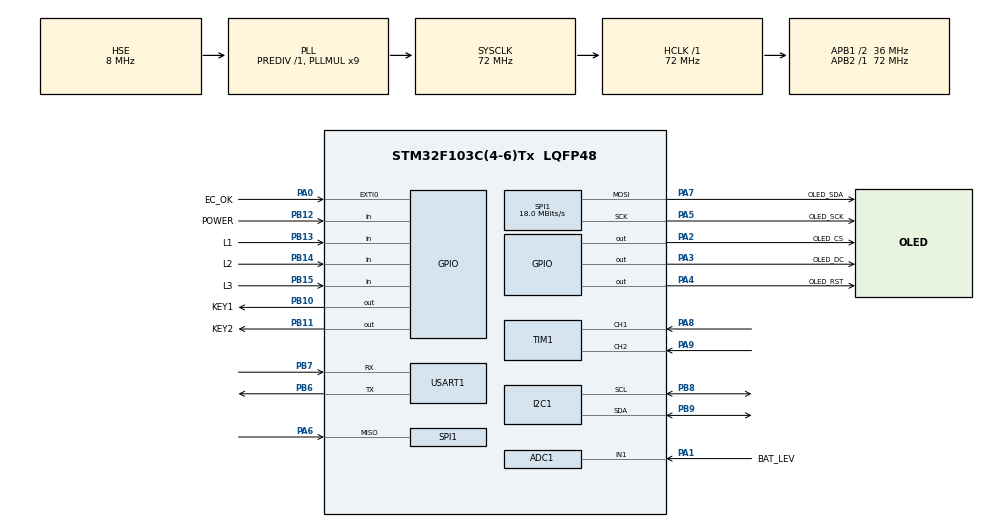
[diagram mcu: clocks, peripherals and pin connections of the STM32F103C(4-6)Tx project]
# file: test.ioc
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ADC1.Channel-1\#ChannelRegularConversion=ADC_CHANNEL_1
ADC1.NbrOfConversionFlag=1
ADC1.Rank-1\#ChannelRegularConversion=1
ADC1.SamplingTime-1\#ChannelRegularConversion=ADC_SAMPLETIME_1CYCLE_5
ADC1.master=1
Dma.Request0=SPI1_TX
Dma.SPI1_TX.0.Direction=DMA_MEMORY_TO_PERIPH
Dma.SPI1_TX.0.Instance=DMA1_Channel3
Dma.SPI1_TX.0.MemDataAlignment=DMA_MDATAALIGN_BYTE
Dma.SPI1_TX.0.MemInc=DMA_MINC_ENABLE
Dma.SPI1_TX.0.Mode=DMA_NORMAL
Dma.SPI1_TX.0.PeriphDataAlignment=DMA_PDATAALIGN_BYTE
Dma.SPI1_TX.0.PeriphInc=DMA_PINC_DISABLE
Dma.SPI1_TX.0.Priority=DMA_PRIORITY_LOW
Mcu.Family=STM32F1
Mcu.Name=STM32F103C(4-6)Tx
Mcu.Package=LQFP48
NVIC.ADC1_2_IRQn=true\:4\:0\:true\:false\:true\:true\:true\:true
NVIC.DMA1_Channel3_IRQn=true\:0\:0\:false\:false\:true\:false\:true\:true
NVIC.EXTI0_IRQn=true\:5\:0\:true\:false\:true\:true\:true\:true
NVIC.PriorityGroup=NVIC_PRIORITYGROUP_4
NVIC.TIM2_IRQn=true\:3\:0\:true\:false\:true\:true\:true\:true
PA0-WKUP.GPIO_Label=EC_OK
PA0-WKUP.GPIO_PuPd=GPIO_PULLDOWN
PA0-WKUP.Signal=GPXTI0
PA1.GPIO_Label=BAT_LEV
PA1.Signal=ADCx_IN1
PA13.Mode=Serial_Wire
PA13.Signal=SYS_JTMS-SWDIO
PA14.Mode=Serial_Wire
PA14.Signal=SYS_JTCK-SWCLK
PA2.GPIO_Label=OLED_CS
PA2.GPIO_PuPd=GPIO_NOPULL
PA2.GPIO_Speed=GPIO_SPEED_FREQ_LOW
PA2.PinState=GPIO_PIN_RESET
PA2.Signal=GPIO_Output
PA3.GPIO_Label=OLED_DC
PA3.GPIO_PuPd=GPIO_NOPULL
PA3.GPIO_Speed=GPIO_SPEED_FREQ_LOW
PA3.PinState=GPIO_PIN_RESET
PA3.Signal=GPIO_Output
PA4.GPIO_Label=OLED_RST
PA4.GPIO_PuPd=GPIO_NOPULL
PA4.GPIO_Speed=GPIO_SPEED_FREQ_LOW
PA4.PinState=GPIO_PIN_RESET
PA4.Signal=GPIO_Output
PA5.GPIO_Label=OLED_SCK
PA5.Mode=Full_Duplex_Master
PA5.Signal=SPI1_SCK
PA6.Mode=Full_Duplex_Master
PA6.Signal=SPI1_MISO
PA7.GPIO_Label=OLED_SDA
PA7.Mode=Full_Duplex_Master
PA7.Signal=SPI1_MOSI
PA8.GPIO_PuPd=GPIO_PULLUP
PA8.Signal=S_TIM1_CH1
PA9.GPIO_PuPd=GPIO_PULLUP
PA9.Signal=S_TIM1_CH2
PB10.GPIO_Label=KEY1
PB10.GPIO_PuPd=GPIO_PULLUP
PB10.Signal=GPIO_Output
PB11.GPIO_Label=KEY2
PB11.GPIO_PuPd=GPIO_PULLUP
PB11.Signal=GPIO_Output
PB12.GPIO_Label=POWER
PB12.Signal=GPIO_Input
PB13.GPIO_Label=L1
PB13.GPIO_PuPd=GPIO_PULLDOWN
PB13.Signal=GPIO_Input
PB14.GPIO_Label=L2
PB14.GPIO_PuPd=GPIO_PULLDOWN
PB14.Signal=GPIO_Input
PB15.GPIO_Label=L3
PB15.GPIO_PuPd=GPIO_PULLDOWN
PB15.Signal=GPIO_Input
PB6.Mode=Asynchronous
PB6.Signal=USART1_TX
PB7.Mode=Asynchronous
PB7.Signal=USART1_RX
PB8.Mode=I2C
PB8.Signal=I2C1_SCL
PB9.Mode=I2C
PB9.Signal=I2C1_SDA
PC14-OSC32_IN.Mode=LSE-External-Oscillator
PC14-OSC32_IN.Signal=RCC_OSC32_IN
PC15-OSC32_OUT.Mode=LSE-External-Oscillator
PC15-OSC32_OUT.Signal=RCC_OSC32_OUT
PD0-OSC_IN.Mode=HSE-External-Oscillator
PD0-OSC_IN.Signal=RCC_OSC_IN
PD1-OSC_OUT.Mode=HSE-External-Oscillator
PD1-OSC_OUT.Signal=RCC_OSC_OUT
ProjectManager.HeapSize=0x200
ProjectManager.StackSize=0x400
ProjectManager.TargetToolchain=MDK-ARM V5.32
RCC.ADCPresc=RCC_ADCPCLK2_DIV6
RCC.AHBFreq_Value=72000000
RCC.APB1CLKDivider=RCC_HCLK_DIV2
RCC.APB1Freq_Value=36000000
RCC.APB1TimFreq_Value=72000000
RCC.APB2Freq_Value=72000000
RCC.APB2TimFreq_Value=72000000
RCC.HCLKFreq_Value=72000000
RCC.PLLMUL=RCC_PLL_MUL9
RCC.PLLSourceVirtual=RCC_PLLSOURCE_HSE
RCC.SYSCLKFreq_VALUE=72000000
RCC.SYSCLKSource=RCC_SYSCLKSOURCE_PLLCLK
RCC.USBFreq_Value=72000000
SH.ADCx_IN1.0=ADC1_IN1,IN1
SH.S_TIM1_CH1.0=TIM1_CH1,Encoder_Interface
SH.S_TIM1_CH2.0=TIM1_CH2,Encoder_Interface
SPI1.BaudRatePrescaler=SPI_BAUDRATEPRESCALER_4
SPI1.CalculateBaudRate=18.0 MBits/s
SPI1.Direction=SPI_DIRECTION_2LINES
SPI1.Mode=SPI_MODE_MASTER
SPI1.VirtualType=VM_MASTER
TIM1.EncoderMode=TIM_ENCODERMODE_TI12
TIM1.IC1Filter=15
TIM1.IC1Polarity=TIM_ICPOLARITY_RISING
TIM1.IC2Filter=15
TIM1.IC2Polarity=TIM_ICPOLARITY_RISING
TIM2.Period=1000
TIM2.Prescaler=7200-1
USART1.VirtualMode=VM_ASYNC
VP_RTC_VS_RTC_Activate.Mode=RTC_Enabled
VP_RTC_VS_RTC_Calendar.Mode=RTC_Calendar
VP_TIM2_VS_ClockSourceINT.Mode=Internal
board=custom

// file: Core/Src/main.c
/* USER CODE BEGIN Header */
/**
  ******************************************************************************
  * @file           : main.c
  * @brief          : Main program body
  ******************************************************************************
  * @attention
  *
  * Copyright (c) 2025 STMicroelectronics.
  * All rights reserved.
  *
  * This software is licensed under terms that can be found in the LICENSE file
  * in the root directory of this software component.
  * If no LICENSE file comes with this software, it is provided AS-IS.
  *
  ******************************************************************************
  */
/* USER CODE END Header */
#include "main.h"
#include "adc.h"
#include "dma.h"
#include "i2c.h"
#include "rtc.h"
#include "spi.h"
#include "tim.h"
#include "usart.h"
#include "gpio.h"

/* USER CODE BEGIN Includes */
#include "delay.h"
#include "light_task.h"
#include "light_ui.h"
#include "ds18b20.h"
#include "oled.h"
//#include "bmp.h"
#include "all_task.h"

#include "key.h"
#include "fan.h"
#include "encoder.h"

/* USER CODE END Includes */

void SystemClock_Config(void);

int main(void)
{

  /* MCU Configuration--------------------------------------------------------*/

  /* Reset of all peripherals, Initializes the Flash interface and the Systick. */
  HAL_Init();

  /* Configure the system clock */
  SystemClock_Config();

  /* Initialize all configured peripherals */
  MX_GPIO_Init();
  MX_DMA_Init();
  MX_I2C1_Init();
  MX_TIM1_Init();
  MX_USART1_UART_Init();
  MX_ADC1_Init();
  MX_TIM2_Init();
  MX_SPI1_Init();
  MX_RTC_Init();
  /* USER CODE BEGIN 2 */
	my_mem_init(SRAMIN);
	DWT_Init();
	HAL_TIM_Encoder_Start(&htim1, TIM_CHANNEL_ALL);
	HAL_ADC_Start_IT(&hadc1);
	DS18B20_Init();
	EncoderSpeed_Init(&encoder1, &htim1, 1024);
	OLED_Init();
	OLED_DisPlay_On();
	OLED_ColorTurn(0);
  OLED_DisplayTurn(0);
	UI_Setup_All();
	printf("system_ok\r\n");
  /* USER CODE END 2 */

  /* Infinite loop */
  /* USER CODE BEGIN WHILE */
	uint8_t Slide_flage = 0;
  while (1)
  {
		DelayCall(Key_Scan_Task, &key1, 5);
		DelayCall(EncoderSpeed_Update, &encoder1, 5);
		DelayCall(Fan_Scan_Task,(void *)&fan1,50);
		DelayCall(Temp_Scan_Task,NULL,1000);
		DelayCall(Twinkle,NULL,50);

		DelayCall(ShowTime_Task,(void *)&Time_Task_Run,10);
		Run_Fan_Task();
    DelayCall(ShowBATLev_Task, NULL, 3000);
		if(Slide_flage == 0)
		{
			fan1_display.ui_offset.offset_y++;
			temp_display.ui_offset.offset_y++;
			fantimeset.ui_offset.offset_y++;
			OLED_Clear_GRAM();
			if(fan1_display.ui_offset.offset_y>=96)
			{
				Slide_flage = 1;
			}
		}
		else
		{
			fan1_display.ui_offset.offset_y--;
			temp_display.ui_offset.offset_y--;
			fantimeset.ui_offset.offset_y--;
			OLED_Clear_GRAM();
			if(fan1_display.ui_offset.offset_y<=-24)
			{
				Slide_flage = 0;
			}
		}
		DelayCall(UI_UpdateAll,NULL,0);
		DelayCall(UI_DrawAll,NULL,0);
    /* USER CODE END WHILE */

  }
}

void SystemClock_Config(void)
{
  RCC_OscInitTypeDef RCC_OscInitStruct = {0};
  RCC_ClkInitTypeDef RCC_ClkInitStruct = {0};
  RCC_PeriphCLKInitTypeDef PeriphClkInit = {0};

  /** Initializes the RCC Oscillators according to the specified parameters
  * in the RCC_OscInitTypeDef structure.
  */
  RCC_OscInitStruct.OscillatorType = RCC_OSCILLATORTYPE_LSI|RCC_OSCILLATORTYPE_HSE;
  RCC_OscInitStruct.HSEState = RCC_HSE_ON;
  RCC_OscInitStruct.HSEPredivValue = RCC_HSE_PREDIV_DIV1;
  RCC_OscInitStruct.HSIState = RCC_HSI_ON;
  RCC_OscInitStruct.LSIState = RCC_LSI_ON;
  RCC_OscInitStruct.PLL.PLLState = RCC_PLL_ON;
  RCC_OscInitStruct.PLL.PLLSource = RCC_PLLSOURCE_HSE;
  RCC_OscInitStruct.PLL.PLLMUL = RCC_PLL_MUL9;
  if (HAL_RCC_OscConfig(&RCC_OscInitStruct) != HAL_OK)
  {
    Error_Handler();
  }

  /** Initializes the CPU, AHB and APB buses clocks
  */
  RCC_ClkInitStruct.ClockType = RCC_CLOCKTYPE_HCLK|RCC_CLOCKTYPE_SYSCLK
                              |RCC_CLOCKTYPE_PCLK1|RCC_CLOCKTYPE_PCLK2;
  RCC_ClkInitStruct.SYSCLKSource = RCC_SYSCLKSOURCE_PLLCLK;
  RCC_ClkInitStruct.AHBCLKDivider = RCC_SYSCLK_DIV1;
  RCC_ClkInitStruct.APB1CLKDivider = RCC_HCLK_DIV2;
  RCC_ClkInitStruct.APB2CLKDivider = RCC_HCLK_DIV1;

  if (HAL_RCC_ClockConfig(&RCC_ClkInitStruct, FLASH_LATENCY_2) != HAL_OK)
  {
    Error_Handler();
  }
  PeriphClkInit.PeriphClockSelection = RCC_PERIPHCLK_RTC|RCC_PERIPHCLK_ADC;
  PeriphClkInit.RTCClockSelection = RCC_RTCCLKSOURCE_LSI;
  PeriphClkInit.AdcClockSelection = RCC_ADCPCLK2_DIV6;
  if (HAL_RCCEx_PeriphCLKConfig(&PeriphClkInit) != HAL_OK)
  {
    Error_Handler();
  }
}

void Error_Handler(void)
{
  __disable_irq();
  while (1)
  {
  }
}
